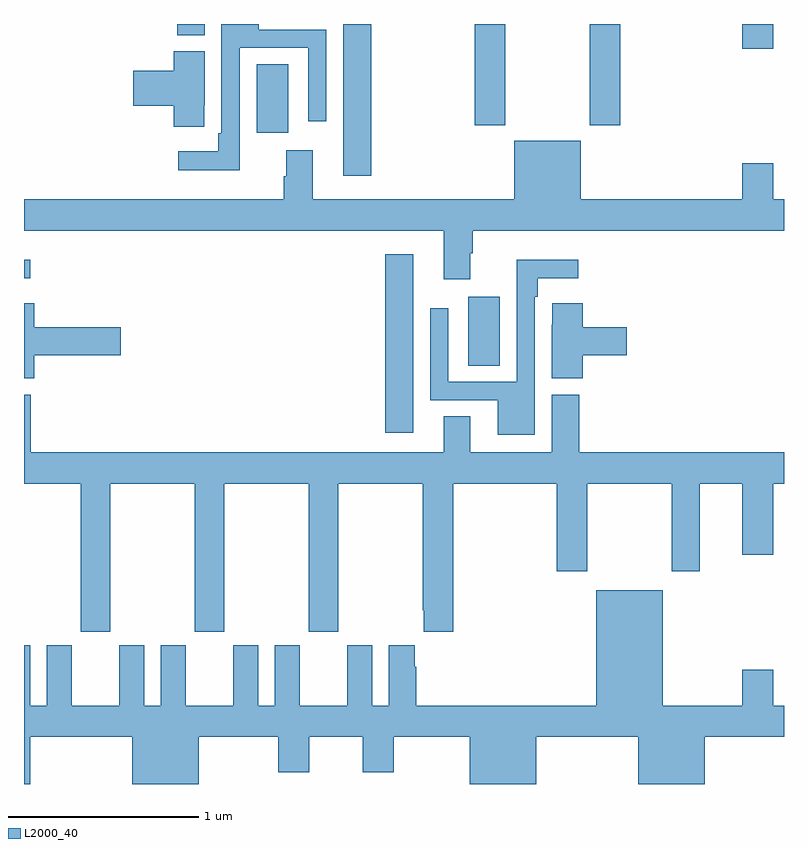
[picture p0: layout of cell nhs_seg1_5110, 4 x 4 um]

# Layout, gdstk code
import gdstk
lib = gdstk.Library(unit=1e-6, precision=1e-09)
def R(c, l, rs):  # rectangles x0, y0, x1, y1
    for r in rs: c.add(gdstk.rectangle(r[:2], r[2:], *l))
def P(c, l, *ps):  # polygons
    for p in ps: c.add(gdstk.Polygon(p, *l))
L2000_40 = (2000, 40)

nhs_seg1_5110 = lib.new_cell('nhs_seg1_5110')
R(nhs_seg1_5110, L2000_40, [(390.902,504.048,391.048,504.988), (391.337,504.4,391.504,504.763), (389,504.86,389.032,504.958), (390.68,505.401,390.827,506.199), (390.224,505.626,390.391,505.988), (391.373,505.665,391.533,506.199), (391.978,505.665,392.138,506.199), (392.78,506.07,392.944,506.199), (389.807,506.14,389.95,506.199)])
P(nhs_seg1_5110, L2000_40, [(390.135,506.073),(390.495,506.073),(390.495,505.686),(390.591,505.686),(390.591,506.169),(390.235,506.169),(390.235,506.199),(390.039,506.199),(390.039,505.624),(390.023,505.624),(390.023,505.528),(389.811,505.528),(389.811,505.43),(390.135,505.43)],
  [(389.949,505.771),(389.95,505.771),(389.95,506.055),(389.789,506.055),(389.789,505.952),(389.574,505.952),(389.574,505.769),(389.789,505.769),(389.789,505.659),(389.949,505.659)],
  [(393,505.276),(392.944,505.276),(392.944,505.465),(392.78,505.465),(392.78,505.276),(391.93,505.276),(391.93,505.585),(391.58,505.585),(391.58,505.276),(390.52,505.276),(390.52,505.534),(390.38,505.534),(390.38,505.397),(390.368,505.397),(390.368,505.276),(389,505.276),(389,505.112),(391.208,505.112),(391.208,504.855),(391.348,504.855),(391.348,504.992),(391.361,504.992),(391.361,505.112),(393,505.112)],
  [(391.689,504.764),(391.705,504.764),(391.705,504.86),(391.918,504.86),(391.918,504.958),(391.593,504.958),(391.593,504.315),(391.233,504.315),(391.233,504.703),(391.137,504.703),(391.137,504.219),(391.493,504.219),(391.493,504.038),(391.689,504.038)],
  [(389.054,504.455),(389.509,504.455),(389.509,504.602),(389.054,504.602),(389.054,504.73),(389,504.73),(389,504.334),(389.054,504.334)],
  [(391.94,504.455),(392.173,504.455),(392.173,504.602),(391.94,504.602),(391.94,504.73),(391.779,504.73),(391.779,504.617),(391.778,504.617),(391.778,504.334),(391.94,504.334)],
  [(389.454,503.78),(389.899,503.78),(389.899,503.001),(390.054,503.001),(390.054,503.78),(390.499,503.78),(390.499,503.001),(390.654,503.001),(390.654,503.78),(391.099,503.78),(391.099,503.113),(391.103,503.113),(391.103,503.001),(391.259,503.001),(391.259,503.78),(391.805,503.78),(391.805,503.319),(391.965,503.319),(391.965,503.78),(392.41,503.78),(392.41,503.319),(392.557,503.319),(392.557,503.78),(392.78,503.78),(392.78,503.406),(392.944,503.406),(392.944,503.78),(393,503.78),(393,503.944),(391.922,503.944),(391.922,504.249),(391.778,504.249),(391.778,503.944),(391.348,503.944),(391.348,504.134),(391.208,504.134),(391.208,503.944),(389.036,503.944),(389.036,504.249),(389,504.249),(389,503.78),(389.299,503.78),(389.299,503.001),(389.454,503.001)],
  [(392.78,502.801),(392.78,502.612),(392.362,502.612),(392.362,503.218),(392.012,503.218),(392.012,502.612),(391.064,502.612),(391.064,502.817),(391.057,502.817),(391.057,502.93),(390.92,502.93),(390.92,502.612),(390.832,502.612),(390.832,502.93),(390.701,502.93),(390.701,502.612),(390.451,502.612),(390.451,502.93),(390.32,502.93),(390.32,502.612),(390.232,502.612),(390.232,502.93),(390.101,502.93),(390.101,502.612),(389.851,502.612),(389.851,502.93),(389.72,502.93),(389.72,502.612),(389.632,502.612),(389.632,502.93),(389.501,502.93),(389.501,502.612),(389.251,502.612),(389.251,502.93),(389.12,502.93),(389.12,502.612),(389.032,502.612),(389.032,502.93),(389,502.93),(389,502.199),(389.032,502.199),(389.032,502.448),(389.57,502.448),(389.57,502.199),(389.92,502.199),(389.92,502.448),(390.338,502.448),(390.338,502.26),(390.502,502.26),(390.502,502.448),(390.782,502.448),(390.782,502.26),(390.946,502.26),(390.946,502.448),(391.346,502.448),(391.346,502.199),(391.696,502.199),(391.696,502.448),(392.234,502.448),(392.234,502.199),(392.584,502.199),(392.584,502.448),(393,502.448),(393,502.612),(392.944,502.612),(392.944,502.801)])

lib.write_gds('nhs_seg1_5110.gds')
